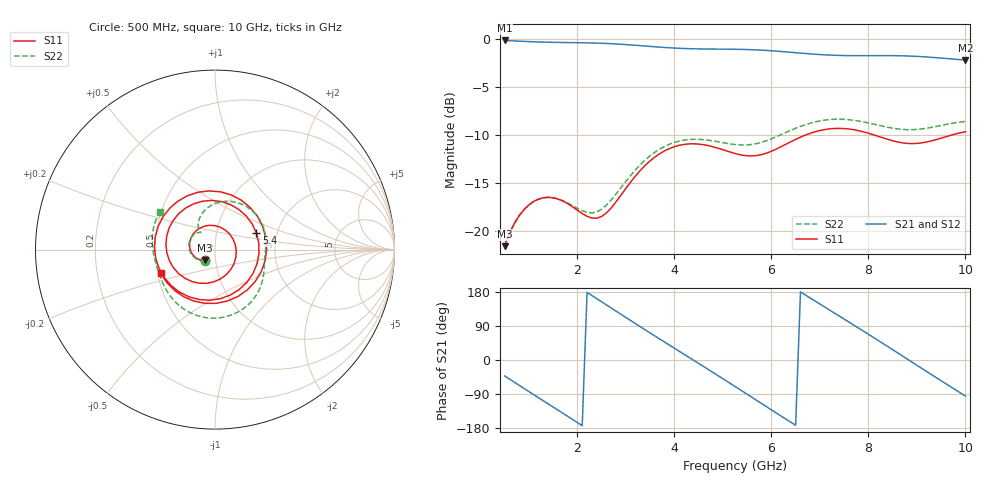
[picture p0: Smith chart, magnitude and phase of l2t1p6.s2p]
! Touchstone file exported from HFSS 3D Layout Design 2026.1.0
!  File:  D:/Work/ADS/HFSS_VERDICT/hfss_sma_connector_cpw.aedt
!  Generated:  01:09:16 PM Aug  6, 2026
!  Design:  SINGLE_END_SMA_CPW_30MM
!  Project:  hfss_sma_connector_cpw
! Variables:
!  $sma_Base_D = 6.25mm
!  $sma_Base_L = 8mm
!  $sma_Feet_L = 4mm
!  $sma_Feet_W = 1mm
!  $sma_Front_L = 1.5mm
!  $sma_Front_W = 6.5mm
!  $sma_Hole_D = 1.25mm
!  $sma_PTFE_D = 4.2mm
!  $sma_Pin_D = 0.95mm
!  $sma_Pin_P = 1.7mm
# GHz S MA R 50.000000
! Terminal data exported
! Port[1] = Port1
! Port[2] = S1_1_Pin_T1
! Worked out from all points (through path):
!   96 points, 500 MHz to 10 GHz, reference 50 ohm
!   highest |S21| = -0.12 dB at 500 MHz (marker M1); lowest = -2.2 dB at 10 GHz (marker M2)
!   group delay of S21, straight-line fit = 226 ps
!   lowest |S11| = -21.6 dB at 500 MHz (marker M3), VSWR 1.18, Z = 44.3 - j5.37 ohm
!   |S11| at or under -10 dB: start of sweep to 6.702 GHz; 8.123 GHz to 9.719 GHz (1.596 GHz wide, 17.9 % of centre)
!   |S22| runs from -21.6 to -8.3 dB; largest |S21 - S12| = 7.4e-14
!   S11 on the Smith chart (normalised r, x): 500 MHz: 0.89, -0.11; 5.4 GHz: 1.56, +0.30; 10 GHz: 0.52, -0.16
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0.5  0.08309 -133.5  0.9863 -42.0  0.9863 -42.0  0.08355 -132.2
0.9  0.1289 -168.6  0.9754 -75.0  0.9754 -75.0  0.1292 -164.1
1.3  0.1488 154.8  0.9671 -107.7  0.9671 -107.7  0.1487 167.3
1.7  0.143 113.7  0.9625 -140.4  0.9625 -140.4  0.1436 144.1
2.1  0.1231 62.1  0.9592 -173.3  0.9592 -173.3  0.1273 131.3
2.5  0.1188 -3.6  0.9534 153.6  0.9534 153.6  0.1296 129.9
3  0.1665 -79.6  0.9385 112.3  0.9385 112.3  0.1812 120.4
3.3  0.2068 -115.2  0.9264 87.7  0.9264 87.7  0.2217 106.5
3.7  0.2528 -156.6  0.9101 55.2  0.9101 55.2  0.2673 83.5
4.1  0.2794 164.6  0.8977 23.1  0.8977 23.1  0.2941 59.0
4.5  0.2836 125.2  0.891 -9.0  0.891 -9.0  0.3003 35.6
5.3  0.2514 34.4  0.8867 -73.9  0.8867 -73.9  0.2812 -1.6
5.4  0.2483 21.5  0.8857 -82.1  0.8857 -82.1  0.2804 -5.2
5.8  0.25 -32.0  0.8777 -115.1  0.8777 -115.1  0.2899 -18.8
6.2  0.2749 -83.5  0.8637 -147.9  0.8637 -147.9  0.3179 -34.3
6.9  0.3289 -161.6  0.8358 155.7  0.8358 155.7  0.3702 -69.1
7.7  0.337 116.8  0.8215 92.0  0.8215 92.0  0.3776 -112.7
8.1  0.3176 73.4  0.8217 59.9  0.8217 59.9  0.361 -132.5
8.5  0.2953 25.7  0.8215 27.3  0.8215 27.3  0.3434 -149.8
9.1  0.2879 -51.2  0.8117 -22.1  0.8117 -22.1  0.3404 -172.9
9.6  0.31 -112.2  0.7942 -62.9  0.7942 -62.9  0.3592 165.5
10  0.3291 -156.2  0.7795 -95.0  0.7795 -95.0  0.3724 145.3
